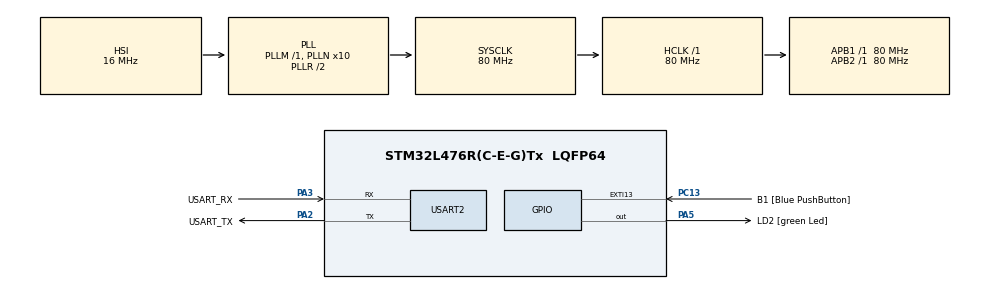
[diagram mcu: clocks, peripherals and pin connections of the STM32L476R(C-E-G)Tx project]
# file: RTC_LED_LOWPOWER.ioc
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Mcu.Family=STM32L4
Mcu.Name=STM32L476R(C-E-G)Tx
Mcu.Package=LQFP64
NVIC.PriorityGroup=NVIC_PRIORITYGROUP_4
NVIC.RTC_Alarm_IRQn=true\:0\:0\:false\:false\:true\:true\:true\:true
NVIC.RTC_WKUP_IRQn=true\:0\:0\:false\:false\:true\:true\:true\:true
PA13\ (JTMS-SWDIO).GPIO_Label=TMS
PA13\ (JTMS-SWDIO).Mode=Serial_Wire
PA13\ (JTMS-SWDIO).Signal=SYS_JTMS-SWDIO
PA14\ (JTCK-SWCLK).GPIO_Label=TCK
PA14\ (JTCK-SWCLK).Mode=Serial_Wire
PA14\ (JTCK-SWCLK).Signal=SYS_JTCK-SWCLK
PA2.GPIO_Label=USART_TX
PA2.GPIO_Mode=GPIO_MODE_AF_PP
PA2.GPIO_PuPd=GPIO_NOPULL
PA2.GPIO_Speed=GPIO_SPEED_FREQ_VERY_HIGH
PA2.Mode=Asynchronous
PA2.Signal=USART2_TX
PA3.GPIO_Label=USART_RX
PA3.GPIO_Mode=GPIO_MODE_AF_PP
PA3.GPIO_PuPd=GPIO_NOPULL
PA3.GPIO_Speed=GPIO_SPEED_FREQ_VERY_HIGH
PA3.Mode=Asynchronous
PA3.Signal=USART2_RX
PA5.GPIO_Label=LD2 [green Led]
PA5.GPIO_ModeDefaultOutputPP=GPIO_MODE_OUTPUT_PP
PA5.GPIO_PuPd=GPIO_NOPULL
PA5.GPIO_Speed=GPIO_SPEED_FREQ_LOW
PA5.Signal=GPIO_Output
PB3\ (JTDO-TRACESWO).GPIO_Label=SWO
PB3\ (JTDO-TRACESWO).Signal=SYS_JTDO-SWO
PC13.GPIO_Label=B1 [Blue PushButton]
PC13.GPIO_ModeDefaultEXTI=GPIO_MODE_IT_FALLING
PC13.GPIO_PuPd=GPIO_NOPULL
PC13.Signal=GPXTI13
PC14-OSC32_IN\ (PC14).Mode=LSE-External-Oscillator
PC14-OSC32_IN\ (PC14).Signal=RCC_OSC32_IN
PC15-OSC32_OUT\ (PC15).Mode=LSE-External-Oscillator
PC15-OSC32_OUT\ (PC15).Signal=RCC_OSC32_OUT
PH0-OSC_IN\ (PH0).Signal=RCC_OSC_IN
PH1-OSC_OUT\ (PH1).Signal=RCC_OSC_OUT
ProjectManager.HeapSize=0x200
ProjectManager.StackSize=0x400
ProjectManager.TargetToolchain=STM32CubeIDE
RCC.ADCFreq_Value=64000000
RCC.AHBFreq_Value=80000000
RCC.APB1Freq_Value=80000000
RCC.APB1TimFreq_Value=80000000
RCC.APB2Freq_Value=80000000
RCC.APB2TimFreq_Value=80000000
RCC.CortexFreq_Value=80000000
RCC.HCLKFreq_Value=80000000
RCC.HSE_VALUE=8000000
RCC.HSI_VALUE=16000000
RCC.MSI_VALUE=4000000
RCC.PLLN=10
RCC.PLLSourceVirtual=RCC_PLLSOURCE_HSI
RCC.PREFETCH_ENABLE=1
RCC.RTCClockSelection=RCC_RTCCLKSOURCE_LSE
RCC.SYSCLKFreq_VALUE=80000000
RCC.SYSCLKSource=RCC_SYSCLKSOURCE_PLLCLK
RCC.USBFreq_Value=64000000
RCC.VCOOutputFreq_Value=160000000
RTC.Alarm-Alarm\ A=RTC_ALARM_A
RTC.AlarmDateWeekDay-Alarm\ A=1
RTC.AlarmMaskDateWeekDay-Alarm\ A=RTC_ALARMMASK_DATEWEEKDAY
RTC.AlarmMaskDateWeekDay_B-Alarm\ B=RTC_ALARMMASK_DATEWEEKDAY
RTC.AlarmMaskHours-Alarm\ A=RTC_ALARMMASK_HOURS
RTC.AlarmMaskHours_B-Alarm\ B=RTC_ALARMMASK_HOURS
RTC.AlarmMaskMinutes-Alarm\ A=RTC_ALARMMASK_MINUTES
RTC.AlarmMaskMinutes_B-Alarm\ B=RTC_ALARMMASK_MINUTES
RTC.AlarmSubSecondMask-Alarm\ A=RTC_ALARMSUBSECONDMASK_NONE
RTC.AlarmSubSecondMask_B-Alarm\ B=RTC_ALARMSUBSECONDMASK_NONE
RTC.Alarm_B-Alarm\ B=RTC_ALARM_B
RTC.Date=19
RTC.Format=RTC_FORMAT_BIN
RTC.Hours=16
RTC.Hours_A-Alarm\ A=0
RTC.Minutes=37
RTC.Minutes_A-Alarm\ A=0
RTC.Month=RTC_MONTH_OCTOBER
RTC.Seconds=56
RTC.Seconds_A-Alarm\ A=2
RTC.Seconds_B-Alarm\ B=2
RTC.SubSeconds_A-Alarm\ A=10
RTC.SubSeconds_B-Alarm\ B=15
RTC.WakeUpClock-WakeUp=RTC_WAKEUPCLOCK_RTCCLK_DIV16
RTC.WakeUpCounter-WakeUp=20480
RTC.Year=22
USART2.VirtualMode-Asynchronous=VM_ASYNC
VP_RTC_VS_RTC_Activate.Mode=RTC_Enabled
VP_RTC_VS_RTC_Alarm_A_Intern.Mode=Alarm A
VP_RTC_VS_RTC_Alarm_B_Intern.Mode=Alarm B
VP_RTC_VS_RTC_Calendar.Mode=RTC_Calendar
VP_RTC_VS_RTC_WakeUp_intern.Mode=WakeUp
board=NUCLEO-L476RG

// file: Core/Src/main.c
/* USER CODE BEGIN Header */
/**
  ******************************************************************************
  * @file           : main.c
  * @brief          : Main program body
  ******************************************************************************
  * @attention
  *
  * Copyright (c) 2022 STMicroelectronics.
  * All rights reserved.
  *
  * This software is licensed under terms that can be found in the LICENSE file
  * in the root directory of this software component.
  * If no LICENSE file comes with this software, it is provided AS-IS.
  *
  ******************************************************************************
  */
/* USER CODE END Header */
#include "main.h"

/* USER CODE BEGIN Includes */
#include "stdio.h"
#include "string.h"
#include "time.h"
/* USER CODE END Includes */

 RTC_HandleTypeDef hrtc;

UART_HandleTypeDef huart2;

void SystemClock_Config(void);
static void MX_GPIO_Init(void);
static void MX_USART2_UART_Init(void);
static void MX_RTC_Init(void);
/* USER CODE BEGIN PFP */

uint8_t alarmOutput=0;
uint8_t wakeUpOutput=0;

/* USER CODE END PFP */

/* USER CODE BEGIN 0 */
void setTimeForNextAlarm(uint32_t time)
{
	RTC_AlarmTypeDef sAlarm = {0};
	RTC_TimeTypeDef curTime;
	HAL_RTC_GetTime(&hrtc, &curTime, RTC_FORMAT_BIN);
	sAlarm.AlarmTime.Seconds=curTime.Seconds+time;
	if(sAlarm.AlarmTime.Seconds>=60)
		sAlarm.AlarmTime.Seconds-=60;
	sAlarm.AlarmTime.Hours = 0;
	sAlarm.AlarmTime.Minutes = 0;
	sAlarm.AlarmTime.SubSeconds = 15;
	sAlarm.AlarmTime.DayLightSaving = RTC_DAYLIGHTSAVING_NONE;
	sAlarm.AlarmTime.StoreOperation = RTC_STOREOPERATION_RESET;
	sAlarm.AlarmMask = RTC_ALARMMASK_DATEWEEKDAY|RTC_ALARMMASK_HOURS
							  |RTC_ALARMMASK_MINUTES;
	sAlarm.AlarmSubSecondMask = RTC_ALARMSUBSECONDMASK_NONE;
	sAlarm.AlarmDateWeekDaySel = RTC_ALARMDATEWEEKDAYSEL_DATE;
	sAlarm.AlarmDateWeekDay = 1;
	sAlarm.Alarm = RTC_ALARM_A;
	if (HAL_RTC_SetAlarm_IT(&hrtc, &sAlarm, RTC_FORMAT_BIN) != HAL_OK)
	{
		Error_Handler();
	}

	/** Enable the Alarm B
	  */
	sAlarm.AlarmTime.SubSeconds = 10;
	sAlarm.Alarm = RTC_ALARM_B;
	if (HAL_RTC_SetAlarm_IT(&hrtc, &sAlarm, RTC_FORMAT_BIN) != HAL_OK)
	{
		Error_Handler();
	}
}

/* USER CODE END 0 */

int main(void)
{
  /* USER CODE BEGIN 1 */
	RTC_TimeTypeDef curTime;
	RTC_DateTypeDef curDate;
	char time[30];
	char date[30];
	uint64_t utc;
  /* USER CODE END 1 */

  /* MCU Configuration--------------------------------------------------------*/

  /* Reset of all peripherals, Initializes the Flash interface and the Systick. */
  HAL_Init();

  /* Configure the system clock */
  SystemClock_Config();

  /* Initialize all configured peripherals */
  MX_GPIO_Init();
  MX_USART2_UART_Init();
  MX_RTC_Init();
  /* USER CODE BEGIN 2 */
  struct tm tm;

  /* USER CODE END 2 */

  /* Infinite loop */
  /* USER CODE BEGIN WHILE */
  while (1)
  {

	  if(alarmOutput)
	  {
		  HAL_RTC_GetTime(&hrtc, &curTime, RTC_FORMAT_BIN);
		  HAL_RTC_GetDate(&hrtc, &curDate, RTC_FORMAT_BIN);

		  memset(&tm, 0, sizeof(struct tm));
		    tm.tm_sec    = curTime.Seconds;
		    tm.tm_min    = curTime.Minutes;
		    tm.tm_hour    = curTime.Hours;
		    tm.tm_mday    = curDate.Date;
		    tm.tm_mon    = curDate.Month-1;
		    tm.tm_year    = curDate.Year+100;
		    tm.tm_isdst  = -1;

		    utc = mktime(&tm);

		  sprintf(date,"Date: %02d.%02d.%02d\t",curDate.Date,curDate.Month,curDate.Year);
		  sprintf(time,"Time: %02d.%02d.%02d.%lld alarm\r\n",curTime.Hours,curTime.Minutes,curTime.Seconds,utc);

		  HAL_UART_Transmit(&huart2, (uint8_t *)date, strlen(date), 300);
		  HAL_UART_Transmit(&huart2, (uint8_t *)time, strlen(time), 300);
		  alarmOutput=0;
	  }
	  if(wakeUpOutput)
	  {
		  HAL_RTC_GetTime(&hrtc, &curTime, RTC_FORMAT_BIN);
		  HAL_RTC_GetDate(&hrtc, &curDate, RTC_FORMAT_BIN);

		  sprintf(date,"Date: %02d.%02d.%02d\t",curDate.Date,curDate.Month,curDate.Year);
		  sprintf(time,"Time: %02d.%02d.%02d wake up\r\n",curTime.Hours,curTime.Minutes,curTime.Seconds);

		  HAL_UART_Transmit(&huart2, (uint8_t *)date, strlen(date), 300);
		  HAL_UART_Transmit(&huart2, (uint8_t *)time, strlen(time), 300);
		  wakeUpOutput=0;

	  }
    /* USER CODE END WHILE */

  }
}

void SystemClock_Config(void)
{
  RCC_OscInitTypeDef RCC_OscInitStruct = {0};
  RCC_ClkInitTypeDef RCC_ClkInitStruct = {0};

  /** Configure the main internal regulator output voltage
  */
  if (HAL_PWREx_ControlVoltageScaling(PWR_REGULATOR_VOLTAGE_SCALE1) != HAL_OK)
  {
    Error_Handler();
  }

  /** Configure LSE Drive Capability
  */
  HAL_PWR_EnableBkUpAccess();
  __HAL_RCC_LSEDRIVE_CONFIG(RCC_LSEDRIVE_LOW);

  /** Initializes the RCC Oscillators according to the specified parameters
  * in the RCC_OscInitTypeDef structure.
  */
  RCC_OscInitStruct.OscillatorType = RCC_OSCILLATORTYPE_HSI|RCC_OSCILLATORTYPE_LSE;
  RCC_OscInitStruct.LSEState = RCC_LSE_ON;
  RCC_OscInitStruct.HSIState = RCC_HSI_ON;
  RCC_OscInitStruct.HSICalibrationValue = RCC_HSICALIBRATION_DEFAULT;
  RCC_OscInitStruct.PLL.PLLState = RCC_PLL_ON;
  RCC_OscInitStruct.PLL.PLLSource = RCC_PLLSOURCE_HSI;
  RCC_OscInitStruct.PLL.PLLM = 1;
  RCC_OscInitStruct.PLL.PLLN = 10;
  RCC_OscInitStruct.PLL.PLLP = RCC_PLLP_DIV7;
  RCC_OscInitStruct.PLL.PLLQ = RCC_PLLQ_DIV2;
  RCC_OscInitStruct.PLL.PLLR = RCC_PLLR_DIV2;
  if (HAL_RCC_OscConfig(&RCC_OscInitStruct) != HAL_OK)
  {
    Error_Handler();
  }

  /** Initializes the CPU, AHB and APB buses clocks
  */
  RCC_ClkInitStruct.ClockType = RCC_CLOCKTYPE_HCLK|RCC_CLOCKTYPE_SYSCLK
                              |RCC_CLOCKTYPE_PCLK1|RCC_CLOCKTYPE_PCLK2;
  RCC_ClkInitStruct.SYSCLKSource = RCC_SYSCLKSOURCE_PLLCLK;
  RCC_ClkInitStruct.AHBCLKDivider = RCC_SYSCLK_DIV1;
  RCC_ClkInitStruct.APB1CLKDivider = RCC_HCLK_DIV1;
  RCC_ClkInitStruct.APB2CLKDivider = RCC_HCLK_DIV1;

  if (HAL_RCC_ClockConfig(&RCC_ClkInitStruct, FLASH_LATENCY_4) != HAL_OK)
  {
    Error_Handler();
  }
}

static void MX_RTC_Init(void)
{

  RTC_TimeTypeDef sTime = {0};
  RTC_DateTypeDef sDate = {0};
  RTC_AlarmTypeDef sAlarm = {0};

  /** Initialize RTC Only
  */
  hrtc.Instance = RTC;
  hrtc.Init.HourFormat = RTC_HOURFORMAT_24;
  hrtc.Init.AsynchPrediv = 127;
  hrtc.Init.SynchPrediv = 255;
  hrtc.Init.OutPut = RTC_OUTPUT_DISABLE;
  hrtc.Init.OutPutRemap = RTC_OUTPUT_REMAP_NONE;
  hrtc.Init.OutPutPolarity = RTC_OUTPUT_POLARITY_HIGH;
  hrtc.Init.OutPutType = RTC_OUTPUT_TYPE_OPENDRAIN;
  if (HAL_RTC_Init(&hrtc) != HAL_OK)
  {
    Error_Handler();
  }

  /** Initialize RTC and set the Time and Date
  */
  sTime.Hours = 16;
  sTime.Minutes = 37;
  sTime.Seconds = 56;
  sTime.DayLightSaving = RTC_DAYLIGHTSAVING_NONE;
  sTime.StoreOperation = RTC_STOREOPERATION_RESET;
  if (HAL_RTC_SetTime(&hrtc, &sTime, RTC_FORMAT_BIN) != HAL_OK)
  {
    Error_Handler();
  }
  sDate.WeekDay = RTC_WEEKDAY_MONDAY;
  sDate.Month = RTC_MONTH_OCTOBER;
  sDate.Date = 19;
  sDate.Year = 22;

  if (HAL_RTC_SetDate(&hrtc, &sDate, RTC_FORMAT_BIN) != HAL_OK)
  {
    Error_Handler();
  }

  /** Enable the Alarm A
  */
  sAlarm.AlarmTime.Hours = 0;
  sAlarm.AlarmTime.Minutes = 0;
  sAlarm.AlarmTime.Seconds = 2;
  sAlarm.AlarmTime.SubSeconds = 10;
  sAlarm.AlarmTime.DayLightSaving = RTC_DAYLIGHTSAVING_NONE;
  sAlarm.AlarmTime.StoreOperation = RTC_STOREOPERATION_RESET;
  sAlarm.AlarmMask = RTC_ALARMMASK_DATEWEEKDAY|RTC_ALARMMASK_HOURS
                              |RTC_ALARMMASK_MINUTES;
  sAlarm.AlarmSubSecondMask = RTC_ALARMSUBSECONDMASK_NONE;
  sAlarm.AlarmDateWeekDaySel = RTC_ALARMDATEWEEKDAYSEL_DATE;
  sAlarm.AlarmDateWeekDay = 1;
  sAlarm.Alarm = RTC_ALARM_A;
  if (HAL_RTC_SetAlarm_IT(&hrtc, &sAlarm, RTC_FORMAT_BIN) != HAL_OK)
  {
    Error_Handler();
  }

  /** Enable the Alarm B
  */
  sAlarm.AlarmTime.SubSeconds = 15;
  sAlarm.Alarm = RTC_ALARM_B;
  if (HAL_RTC_SetAlarm_IT(&hrtc, &sAlarm, RTC_FORMAT_BIN) != HAL_OK)
  {
    Error_Handler();
  }
  /* USER CODE BEGIN RTC_Init 2 */
  //Clear the WU flag
     __HAL_PWR_CLEAR_FLAG(PWR_FLAG_WU);
     __HAL_RTC_WAKEUPTIMER_CLEAR_FLAG(&hrtc, RTC_FLAG_WUTF);

      /*## Configure the Wake up timer ###########################################*/
   /*  RTC Wake-up Interrupt Generation:
       Wake-up Time Base = (RTC_WAKEUPCLOCK_RTCCLK_DIV /(LSI))
       ==> WakeUpCounter = Wake-up Time / Wake-up Time Base

       To configure the wake up timer to 10s the WakeUpCounter is set to 0x1770:
         RTC_WAKEUPCLOCK_RTCCLK_DIV = RTCCLK_Div16 = 16
         Wake-up Time Base = 16 /(32KHz) = 0.0005 seconds
         ==> WakeUpCounter = ~10s/0.0005s = 20000 = 0x1770 */

     if (HAL_RTCEx_SetWakeUpTimer_IT(&hrtc, 20480, RTC_WAKEUPCLOCK_RTCCLK_DIV16) != HAL_OK)
     {
         Error_Handler();
     }
  /* USER CODE END RTC_Init 2 */

}

static void MX_USART2_UART_Init(void)
{

  huart2.Instance = USART2;
  huart2.Init.BaudRate = 115200;
  huart2.Init.WordLength = UART_WORDLENGTH_8B;
  huart2.Init.StopBits = UART_STOPBITS_1;
  huart2.Init.Parity = UART_PARITY_NONE;
  huart2.Init.Mode = UART_MODE_TX_RX;
  huart2.Init.HwFlowCtl = UART_HWCONTROL_NONE;
  huart2.Init.OverSampling = UART_OVERSAMPLING_16;
  huart2.Init.OneBitSampling = UART_ONE_BIT_SAMPLE_DISABLE;
  huart2.AdvancedInit.AdvFeatureInit = UART_ADVFEATURE_NO_INIT;
  if (HAL_UART_Init(&huart2) != HAL_OK)
  {
    Error_Handler();
  }

}

static void MX_GPIO_Init(void)
{
  GPIO_InitTypeDef GPIO_InitStruct = {0};

  /* GPIO Ports Clock Enable */
  __HAL_RCC_GPIOC_CLK_ENABLE();
  __HAL_RCC_GPIOH_CLK_ENABLE();
  __HAL_RCC_GPIOA_CLK_ENABLE();
  __HAL_RCC_GPIOB_CLK_ENABLE();

  /*Configure GPIO pin Output Level */
  HAL_GPIO_WritePin(LD2_GPIO_Port, LD2_Pin, GPIO_PIN_RESET);

  /*Configure GPIO pin : B1_Pin */
  GPIO_InitStruct.Pin = B1_Pin;
  GPIO_InitStruct.Mode = GPIO_MODE_IT_FALLING;
  GPIO_InitStruct.Pull = GPIO_NOPULL;
  HAL_GPIO_Init(B1_GPIO_Port, &GPIO_InitStruct);

  /*Configure GPIO pin : LD2_Pin */
  GPIO_InitStruct.Pin = LD2_Pin;
  GPIO_InitStruct.Mode = GPIO_MODE_OUTPUT_PP;
  GPIO_InitStruct.Pull = GPIO_NOPULL;
  GPIO_InitStruct.Speed = GPIO_SPEED_FREQ_LOW;
  HAL_GPIO_Init(LD2_GPIO_Port, &GPIO_InitStruct);

}

/* USER CODE BEGIN 4 */

void HAL_RTC_AlarmAEventCallback(RTC_HandleTypeDef *hrtc)
{
	HAL_GPIO_WritePin(LD2_GPIO_Port, LD2_Pin, GPIO_PIN_SET);
}

void HAL_RTCEx_AlarmBEventCallback(RTC_HandleTypeDef *hrtc)
{
	HAL_GPIO_WritePin(LD2_GPIO_Port, LD2_Pin, GPIO_PIN_RESET);
	setTimeForNextAlarm(6);
	alarmOutput=1;
}

void HAL_RTCEx_WakeUpTimerEventCallback(RTC_HandleTypeDef *hrtc)
{
	wakeUpOutput=1;
}

/* USER CODE END 4 */

void Error_Handler(void)
{
  __disable_irq();
  while (1)
  {
  }
}
